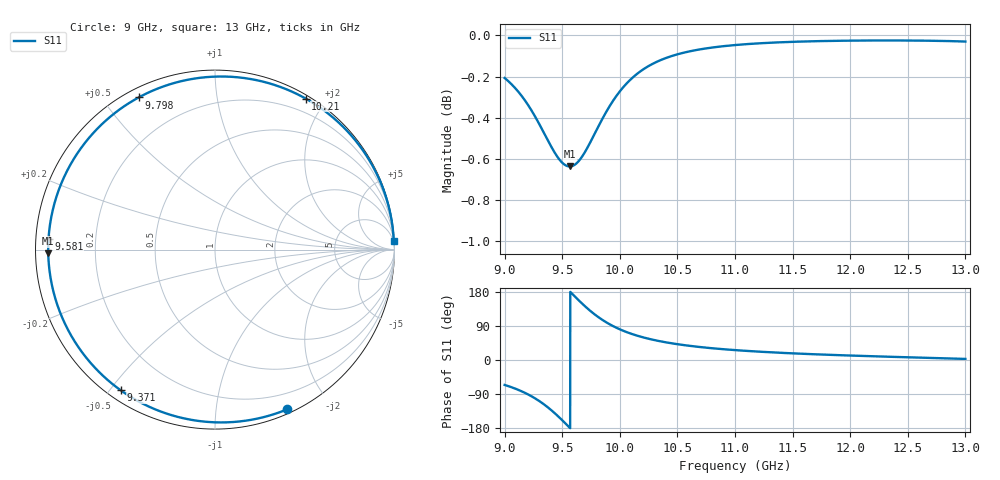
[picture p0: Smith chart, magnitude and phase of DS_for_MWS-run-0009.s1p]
! TOUCHSTONE file generated by CST DESIGN STUDIO
! Date and time: Tue Feb  4 16:21:53 2025
! Project name: C:\Work\MatlabApps\UnitCellOptimizationMatlab\CST\unitcell.cst
! Tree item: Tasks\Sweep1\SPara1\S-Parameters
! Header version: 2024
! Port assignment regex: !\s*Touchstone port\s*([0-9]+)\s*=\s*(CST MWS port|CST DES external port|CST DES block port)\s*(.+)\s* \(\"(.*)\"\)(\s*mode\s*([0-9]+))?.*
! Touchstone port assignment:
! Touchstone port 1 = CST DES external port 1 ("")
# GHz S MA R 50
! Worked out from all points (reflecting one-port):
!   4001 points, 9 GHz to 13 GHz, reference 50 ohm
!   lowest |S11| = -0.6 dB at 9.565 GHz (marker M1), VSWR 27.29, Z = 1.83 - j0.574 ohm
!   phase of S11 starts at -66 deg and turns -291 deg over the sweep
!   S11 on the Smith chart (normalised r, x): 9 GHz: 0.04, -1.55; 9.371 GHz: 0.04, -0.53; 9.581 GHz: 0.04, +0.03; 9.798 GHz: 0.04, +0.62; 10.21 GHz: 0.04, +1.77; 13 GHz: 3, +40
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9  0.9765 -65.8
9.043  0.9741 -70.0
9.11  0.9697 -77.7
9.224  0.9599 -94.1
9.302  0.9515 -108.5
9.371  0.9435 -123.9
9.434  0.9366 -140.0
9.5  0.9313 -158.9
9.533  0.9298 -168.9
9.565  0.9293 -178.7
9.581  0.9294 176.4
9.636  0.9316 159.6
9.697  0.9368 142.0
9.747  0.9423 128.8
9.798  0.9484 116.6
9.842  0.9536 107.2
9.889  0.9589 98.3
10  0.9692 81.0
10.1  0.976 69.2
10.211  0.9815 59.0
10.344  0.986 49.8
10.5  0.9895 41.7
10.721  0.9925 33.4
11  0.9946 26.1
11.5  0.9964 17.5
12  0.9971 11.7
12.5  0.9972 7.2
13  0.9966 2.8
